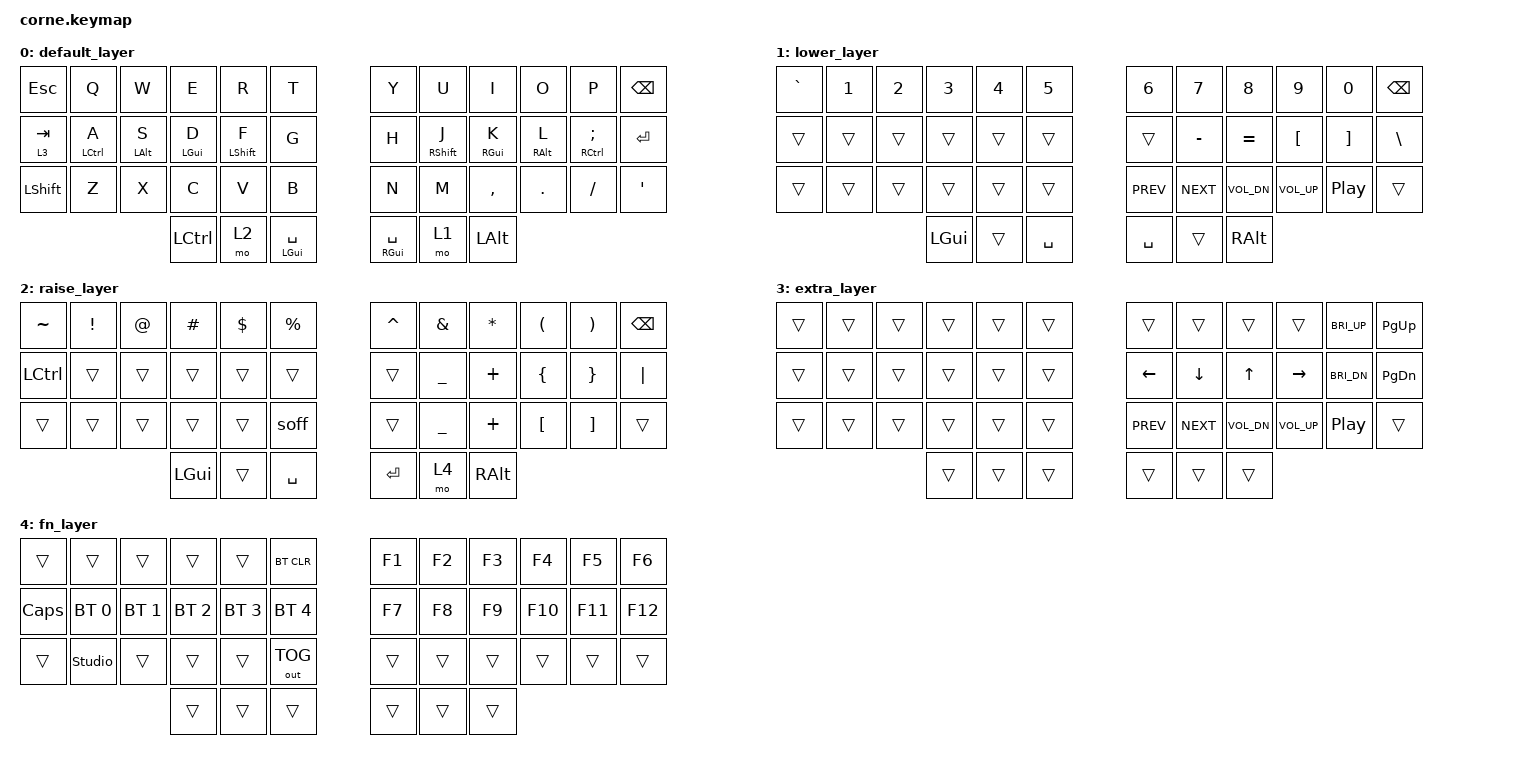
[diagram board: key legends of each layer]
/*
 * Copyright (c) 2020 The ZMK Contributors
 *
 * SPDX-License-Identifier: MIT
 */

#include <behaviors.dtsi>
#include <dt-bindings/zmk/keys.h>
#include <dt-bindings/zmk/bt.h>
#include <dt-bindings/zmk/outputs.h>

&mt {
//        retro-tap;
        flavor = "tap-preferred";
};

//&soff {
//    split-peripheral-off-on-press;
//};



// &lt {
//     retro-tap;
//     flavor = "tap-preferred";
// };
//
// / {
//     behaviors {
//         mthp: hold_preferred_tap {
//                         compatible = "zmk,behavior-hold-tap";
//                         label = "HOLD_PREFERRED_TAP";
//                         #binding-cells = <2>;
//                         tapping-term-ms = <125>;
//                         flavor = "hold-preferred";    
//                         bindings = <&kp>, <&kp>;
//         };
//     };

/ {
    behaviors {
        hm: homerow_mods {
            compatible = "zmk,behavior-hold-tap";
            label = "HOMEROW_MODS";
            #binding-cells = <2>;
            tapping-term-ms = <200>;
            quick-tap-ms = <200>;
            global-quick-tap;
            flavor = "tap-preferred";
            bindings = <&kp>, <&kp>;
        };
        // the right side always turns off on press :/
        soff: soft_off {
            compatible = "zmk,behavior-soft-off";
            #binding-cells = <0>;
            // split-peripheral-off-on-press;
            hold-time-ms = <2000>; // Only turn off it the key is held for 2 seconds or longer.
        };
    };
    keymap {
                compatible = "zmk,keymap";

                default_layer {
// -----------------------------------------------------------------------------------------
// |  ESC |  Q  |  W  |  E  |  R  |  T  |   |  Y  |  U   |  I  |  O  |  P  | BKSP |
// | TAB/3|  A  |  S  |  D  |  F  |  G  |   |  H  |  J   |  K  |  L  |  ;  | ENTER|
// | SHFT |  Z  |  X  |  C  |  V  |  B  |   |  N  |  M   |  ,  |  .  |  /  |  '   |
//                    | GUI | LWR | SPC |   | ENT | RSE  | ALT |
                        bindings = <
   &kp ESC   &kp Q       &kp W      &kp E      &kp R       &kp T      &kp Y     &kp U        &kp I       &kp O       &kp P         &kp BSPC
   &lt 3 TAB &hm LCTRL A &hm LALT S &hm LGUI D &hm LSHFT F &kp G      &kp H     &hm RSHIFT J &hm RGUI K  &hm RALT L  &hm RCTL SEMI &kp RET
   &kp LSHFT &kp Z       &kp X      &kp C      &kp V       &kp B      &kp N     &kp M        &kp COMMA   &kp DOT     &kp FSLH      &kp SQT
                               &kp LCTRL &mo 2 &hm LGUI SPACE         &hm RGUI SPACE &mo 1 &kp LALT
                        >;
                };
                lower_layer {
// -----------------------------------------------------------------------------------------
// | `    |  1  |  2  |  3  |  4  |  5  |   |  6  |  7  |  8  |  9  |  0  | BKSP |
// |      |     |     |     |     |     |   |     |  -  |  =  |  [  |  ]  |  \   |
// |      |     |     |     |     |     |   |     |     |     |     |     | RST  |
//                    | GUI |     | SPC |   | ENT |     | ALT |
                        bindings = <
   &kp GRAVE      &kp N1       &kp N2       &kp N3       &kp N4       &kp N5         &kp N6     &kp N7     &kp N8       &kp N9       &kp N0    &kp BSPC
   &trans         &trans       &trans       &trans       &trans       &trans         &trans     &kp MINUS  &kp EQUAL    &kp LBKT     &kp RBKT  &kp BSLH
   &trans         &trans       &trans       &trans       &trans       &trans         &kp C_PREV &kp C_NEXT &kp C_VOL_DN &kp C_VOL_UP &kp C_PP  &trans
                                            &kp LGUI     &trans       &kp SPACE      &kp SPACE  &trans   &kp RALT
                        >;
                };

                raise_layer {
// -----------------------------------------------------------------------------------------
// |  `   |  !  |  @  |  #  |  $  |  %  |   |  ^  |  &  |  *  |  (  |  )  | BKSP |
// | CTRL |     |     |     |     |     |   |     |  _  |  +  |  {  |  }  |  |   |
// |      |     |     |     |     |S_OFF|   |     |  _  |  +  |  [  |  ]  |      |
//                    | GUI |     | SPC |   | ENT |     | ALT |
                        bindings = <
   &kp TILDE  &kp EXCL &kp AT &kp HASH &kp DLLR &kp PRCNT     &kp CARET &kp AMPS  &kp ASTRK &kp LPAR &kp RPAR &kp BSPC
   &kp LCTRL  &trans   &trans &trans   &trans   &trans        &trans    &kp UNDER &kp PLUS  &kp LBRC &kp RBRC &kp PIPE
   &trans     &trans   &trans &trans   &trans   &soff         &trans    &kp UNDER &kp PLUS  &kp LBKT &kp RBKT &trans
                              &kp LGUI &trans   &kp SPACE     &kp RET   &mo 4    &kp RALT
                        >;
                };
                extra_layer {
// -----------------------------------------------------------------------------------------
// |      |     |     |     |     |     |   |     |     |     |     | BUP |  PUP |
// |      |     |     |     |     |     |   | LFT | DWN |  UP | RGT | BWN |  PDN |
// |      |     |     |     |     |     |   | PRV | NXT |  V- | V+  | PP  |      |
//                    |     |     |     |   |     |     |     |
                        bindings = <
   &trans &trans   &trans   &trans   &trans   &trans        &trans     &trans     &trans       &trans       &kp C_BRI_UP    &kp PG_UP
   &trans &trans   &trans   &trans   &trans   &trans        &kp LEFT   &kp DOWN   &kp UP       &kp RIGHT    &kp C_BRI_DN    &kp PG_DN    
   &trans &trans   &trans   &trans   &trans   &trans        &kp C_PREV &kp C_NEXT &kp C_VOL_DN &kp C_VOL_UP &kp C_PP  &trans
                            &trans   &trans   &trans        &trans     &trans     &trans
                        >;
                };
                fn_layer {
// -----------------------------------------------------------------------------------------
// |      |      |     |     |     |BTCLR |   |     |     |     |     |     |      |
// |      | BT1  | BT2 | BT3 | BT4 | BT5  |   |     |     |     |     |     |      |
// |      |studio|     |     |     |USBTOG|   |     |     |     |     |     |      |
//                    |     |     |      |   |     |     |     |
                        bindings = <
   &trans   &trans         &trans       &trans       &trans       &bt BT_CLR     &kp F1 &kp F2 &kp F3  &kp F4  &kp F5  &kp F6
   &kp CAPS &bt BT_SEL 0   &bt BT_SEL 1 &bt BT_SEL 2 &bt BT_SEL 3 &bt BT_SEL 4   &kp F7 &kp F8 &kp F9  &kp F10 &kp F11 &kp F12
   &trans   &studio_unlock &trans       &trans       &trans       &out OUT_TOG   &trans &trans &trans  &trans  &trans  &trans
                                    &trans       &trans       &trans         &trans &trans &trans
                        >;
                };
        };
};
